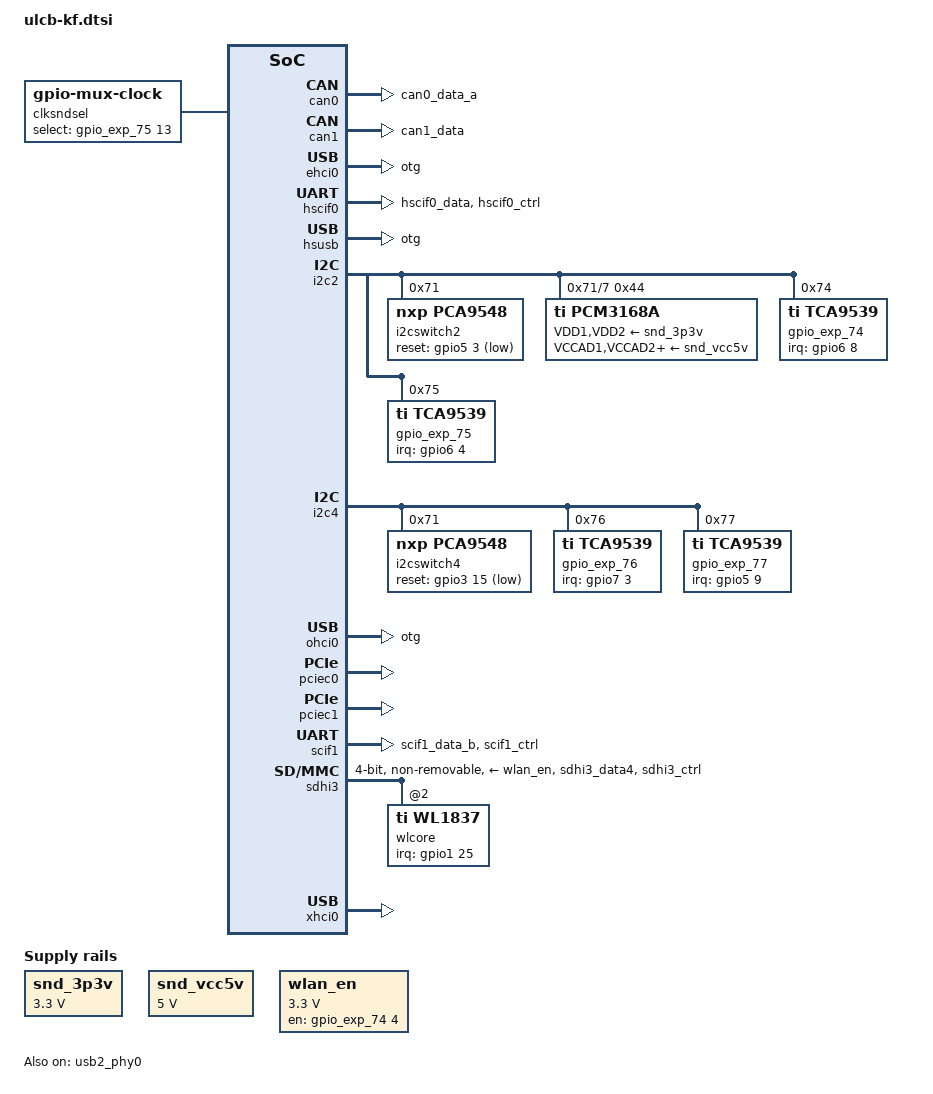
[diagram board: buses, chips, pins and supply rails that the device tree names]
// SPDX-License-Identifier: GPL-2.0
/*
 * Device Tree Source for the Kingfisher (ULCB extension) board
 *
 * Copyright (C) 2017 Renesas Electronics Corp.
 * Copyright (C) 2017 Cogent Embedded, Inc.
 */

/*
 * SSI-PCM3168A
 *	aplay   -D plughw:0,2 xxx.wav
 *	arecord -D plughw:0,3 xxx.wav
 */

/ {
	aliases {
		serial1 = &hscif0;
		serial2 = &scif1;
	};

	clksndsel: clksndsel {
		#clock-cells = <0>;
		compatible = "gpio-mux-clock";
		clocks = <&cs2000>, <&audio_clk_a>; /* clk8snd, clksnd */
		select-gpios = <&gpio_exp_75 13 GPIO_ACTIVE_HIGH>;
	};

	snd_3p3v: regulator-snd_3p3v {
		compatible = "regulator-fixed";
		regulator-name = "snd-3.3v";
		regulator-min-microvolt = <3300000>;
		regulator-max-microvolt = <3300000>;
	};

	snd_vcc5v: regulator-snd_vcc5v {
		compatible = "regulator-fixed";
		regulator-name = "snd-vcc5v";
		regulator-min-microvolt = <5000000>;
		regulator-max-microvolt = <5000000>;
	};

	wlan_en: regulator-wlan_en {
		compatible = "regulator-fixed";
		regulator-name = "wlan-en-regulator";

		regulator-min-microvolt = <3300000>;
		regulator-max-microvolt = <3300000>;

		gpio = <&gpio_exp_74 4 GPIO_ACTIVE_HIGH>;
		startup-delay-us = <70000>;
		enable-active-high;
	};

	/delete-node/sound;
	rsnd_ulcb_kf: sound {
		compatible = "simple-scu-audio-card";

		simple-audio-card,name = "rsnd-mix";
		simple-audio-card,routing = "ak4613 Playback", "DAI0 Playback",
					    "ak4613 Playback", "DAI1 Playback",
					    "pcm3168a Playback", "DAI2 Playback",
					    "pcm3168a Playback", "DAI3 Playback",
					    "pcm3168a Playback", "DAI4 Playback",
					    "pcm3168a Playback", "DAI5 Playback";

		simple-audio-card,dai-link@0 {

			format = "left_j";
			bitclock-master = <&sndcpu0>;
			frame-master = <&sndcpu0>;

			convert-rate = <48000>;

			sndcpu0: cpu {
				sound-dai = <&rcar_sound 0>;
			};
			cpu@1 {
				sound-dai = <&rcar_sound 1>;
			};
			codec {
				prefix = "ak4613";
				sound-dai = <&ak4613>;
			};
		};
		simple-audio-card,dai-link@1 {
			format = "i2s";
			bitclock-master = <&sndcpu1>;
			frame-master = <&sndcpu1>;

			convert-channels = <8>; /* TDM Split */

			sndcpu1: cpu@0 {
				sound-dai = <&rcar_sound 2>;
			};
			cpu@1 {
				sound-dai = <&rcar_sound 3>;
			};
			cpu@2 {
				sound-dai = <&rcar_sound 4>;
			};
			cpu@3 {
				sound-dai = <&rcar_sound 5>;
			};
			codec {
				prefix = "pcm3168a";
				mclk-fs = <512>;
				sound-dai = <&pcm3168a 0>;
			};
		};
		simple-audio-card,dai-link@2 {
			format = "i2s";
			bitclock-master = <&sndcpu2>;
			frame-master = <&sndcpu2>;

			sndcpu2: cpu {
				sound-dai = <&rcar_sound 6>;
			};
			codec {
				prefix = "pcm3168a";
				mclk-fs = <512>;
				sound-dai = <&pcm3168a 1>;
			};
		};
	};
};

&can0 {
	pinctrl-0 = <&can0_pins>;
	pinctrl-names = "default";
	status = "okay";
};

&can1 {
	pinctrl-0 = <&can1_pins>;
	pinctrl-names = "default";
	status = "okay";
};

&ehci0 {
	dr_mode = "otg";
	status = "okay";
};

&hscif0 {
	pinctrl-0 = <&hscif0_pins>;
	pinctrl-names = "default";
	uart-has-rtscts;

	status = "okay";
};

&hsusb {
	dr_mode = "otg";
	status = "okay";
};

&i2c2 {
	i2cswitch2: i2c-switch@71 {
		compatible = "nxp,pca9548";
		#address-cells = <1>;
		#size-cells = <0>;
		reg = <0x71>;
		reset-gpios = <&gpio5 3 GPIO_ACTIVE_LOW>;

		/* Audio_SDA, Audio_SCL */
		i2c@7 {
			#address-cells = <1>;
			#size-cells = <0>;
			reg = <7>;

			pcm3168a: audio-codec@44 {
				#sound-dai-cells = <1>;
				compatible = "ti,pcm3168a";
				reg = <0x44>;
				clocks = <&clksndsel>;
				clock-names = "scki";

				VDD1-supply	= <&snd_3p3v>;
				VDD2-supply	= <&snd_3p3v>;
				VCCAD1-supply	= <&snd_vcc5v>;
				VCCAD2-supply	= <&snd_vcc5v>;
				VCCDA1-supply	= <&snd_vcc5v>;
				VCCDA2-supply	= <&snd_vcc5v>;

				ports {
					#address-cells = <1>;
					#size-cells = <0>;
					mclk-fs = <512>;
					port@0 {
						reg = <0>;
						pcm3168a_endpoint_p: endpoint {
							clocks = <&clksndsel>;
						};
					};
					port@1 {
						reg = <1>;
						pcm3168a_endpoint_c: endpoint {
							clocks = <&clksndsel>;
						};
					};
				};
			};
		};
	};

	/* U11 */
	gpio_exp_74: gpio@74 {
		compatible = "ti,tca9539";
		reg = <0x74>;
		gpio-controller;
		#gpio-cells = <2>;
		interrupt-controller;
		interrupt-parent = <&gpio6>;
		interrupts = <8 IRQ_TYPE_EDGE_FALLING>;

		audio_out_off {
			gpio-hog;
			gpios = <0 GPIO_ACTIVE_HIGH>; /* P00 */
			output-high;
			line-name = "Audio_Out_OFF";
		};

		hub_pwen {
			gpio-hog;
			gpios = <6 GPIO_ACTIVE_HIGH>;
			output-high;
			line-name = "HUB pwen";
		};

		hub_rst {
			gpio-hog;
			gpios = <7 GPIO_ACTIVE_HIGH>;
			output-high;
			line-name = "HUB rst";
		};

		otg_extlpn {
			gpio-hog;
			gpios = <9 GPIO_ACTIVE_HIGH>;
			output-high;
			line-name = "OTG EXTLPn";
		};

		otg_offvbusn {
			gpio-hog;
			gpios = <8 GPIO_ACTIVE_HIGH>;
			output-low;
			line-name = "OTG OFFVBUSn";
		};

		sd-wifi-mux {
			gpio-hog;
			gpios = <5 GPIO_ACTIVE_HIGH>;
			output-low;	/* Connect WL1837 */
			line-name = "SD WiFi mux";
		};

		snd_rst {
			gpio-hog;
			gpios = <15 GPIO_ACTIVE_HIGH>; /* P17 */
			output-high;
			line-name = "SND_RST";
		};
	};

	/* U5 */
	gpio_exp_75: gpio@75 {
		compatible = "ti,tca9539";
		reg = <0x75>;
		gpio-controller;
		#gpio-cells = <2>;
		interrupt-controller;
		interrupt-parent = <&gpio6>;
		interrupts = <4 IRQ_TYPE_EDGE_FALLING>;
	};
};

&i2c4 {
	i2cswitch4: i2c-switch@71 {
		compatible = "nxp,pca9548";
		#address-cells = <1>;
		#size-cells = <0>;
		reg = <0x71>;
		reset-gpios = <&gpio3 15 GPIO_ACTIVE_LOW>;
	};

	gpio_exp_76: gpio@76 {
		compatible = "ti,tca9539";
		reg = <0x76>;
		gpio-controller;
		#gpio-cells = <2>;
		interrupt-controller;
		interrupt-parent = <&gpio7>;
		interrupts = <3 IRQ_TYPE_EDGE_FALLING>;
	};

	gpio_exp_77: gpio@77 {
		compatible = "ti,tca9539";
		reg = <0x77>;
		gpio-controller;
		#gpio-cells = <2>;
		interrupt-controller;
		interrupt-parent = <&gpio5>;
		interrupts = <9 IRQ_TYPE_EDGE_FALLING>;
	};
};

&ohci0 {
	dr_mode = "otg";
	status = "okay";
};

&pcie_bus_clk {
	clock-frequency = <100000000>;
};

&pciec0 {
	status = "okay";
};

&pciec1 {
	status = "okay";
};

&pfc {
	can0_pins: can0 {
		groups = "can0_data_a";
		function = "can0";
	};

	can1_pins: can1 {
		groups = "can1_data";
		function = "can1";
	};

	hscif0_pins: hscif0 {
		groups = "hscif0_data", "hscif0_ctrl";
		function = "hscif0";
	};

	scif1_pins: scif1 {
		groups = "scif1_data_b", "scif1_ctrl";
		function = "scif1";
	};

	sdhi3_pins: sdhi3 {
		groups = "sdhi3_data4", "sdhi3_ctrl";
		function = "sdhi3";
		power-source = <3300>;
	};

	sound_pcm_pins: sound-pcm {
		groups = "ssi349_ctrl", "ssi3_data", "ssi4_data";
		function = "ssi";
	};

	usb0_pins: usb0 {
		groups = "usb0";
		function = "usb0";
	};
};

&rcar_sound {
	pinctrl-0 = <&sound_pins
		     &sound_clk_pins
		     &sound_pcm_pins>;

	/* Multi DAI */
	#sound-dai-cells = <1>;

	rcar_sound,dai {
		dai2 {
			playback = <&ssiu30 &ssi3>;
		};
		dai3 {
			playback = <&ssiu31 &ssi3>;
		};
		dai4 {
			playback = <&ssiu32 &ssi3>;
		};
		dai5 {
			playback = <&ssiu33 &ssi3>;
		};
		dai6 {
			capture = <&ssi4>;
		};
	};
};

&scif1 {
	pinctrl-0 = <&scif1_pins>;
	pinctrl-names = "default";
	uart-has-rtscts;

	status = "okay";
};

&sdhi3 {
	pinctrl-0 = <&sdhi3_pins>;
	pinctrl-names = "default";

	vmmc-supply = <&wlan_en>;
	vqmmc-supply = <&wlan_en>;
	bus-width = <4>;
	no-1-8-v;
	non-removable;
	cap-power-off-card;
	keep-power-in-suspend;
	max-frequency = <26000000>;
	status = "okay";

	#address-cells = <1>;
	#size-cells = <0>;
	wlcore: wlcore@2 {
		compatible = "ti,wl1837";
		reg = <2>;
		interrupt-parent = <&gpio1>;
		interrupts = <25 IRQ_TYPE_EDGE_FALLING>;
	};
};

&ssi4 {
	shared-pin;
};

&usb2_phy0 {
	pinctrl-0 = <&usb0_pins>;
	pinctrl-names = "default";

	status = "okay";
};

&xhci0 {
	status = "okay";
};
